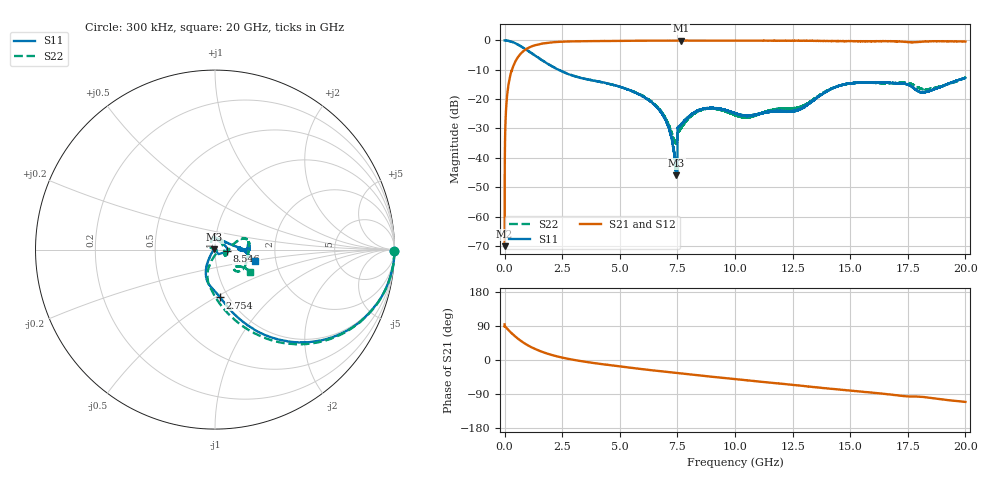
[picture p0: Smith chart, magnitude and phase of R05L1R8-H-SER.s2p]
!{R05L1R8}
!Johanson Technology Inc.
!www.johansontechnology.com
!Test Board Conditions:
!Substrate Type  RO4350B
!Substrate Thickness  10 mil
!Substrate Dk  3.66
!TL Type: GCPW
!TL Trace Width  22 mil
!TL Gap  25 mil
!Electrode orientation  Horizontal
!DUT TOPOLOGY	SERIES
!Mounting Pad LxW  11x14.5 mil
! Created Wed Nov 25 17:33:21 2020
! 2 Port Network Data from SP1.SP block
! freq  magS11  angS11  magS21  angS21  magS12  angS12  magS22  angS22
# khz S ma R 50
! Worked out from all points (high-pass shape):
!   20001 points, 300 kHz to 20 GHz, reference 50 ohm
!   highest |S21| = -0.03 dB at 7.646 GHz (marker M1); lowest = -70.1 dB at 300 kHz (marker M2)
!   |S21| within 3 dB of the highest: 921.9 MHz to end of sweep
!   lowest |S11| = -45.9 dB at 7.453 GHz (marker M3), VSWR 1.01, Z = 49.6 + j0.231 ohm
!   |S11| at or under -10 dB: 2.341 GHz to end of sweep
!   |S22| runs from -35.3 to 0.0 dB; largest |S21 - S12| = 0.016
!   S11 on the Smith chart (normalised r, x): 300 kHz: open; 2.754 GHz: 0.92, -0.53; 8.546 GHz: 1.14, -0.02; 20 GHz: 1.56, -0.20
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300  0.9995 -0.5  0.0003123 94.0  0.0003686 94.2  1 -0.4
101300  0.9938 -6.5  0.1074 83.4  0.1078 83.3  0.994 -6.5
124300  0.9904 -7.9  0.1314 81.9  0.1319 81.9  0.9911 -8.0
235300  0.9681 -14.8  0.2437 74.8  0.2444 74.8  0.9688 -15.0
427300  0.9103 -25.2  0.4064 64.1  0.4081 64.1  0.9093 -25.6
1445300  0.5141 -62.5  0.8528 26.1  0.8528 26.0  0.5161 -64.7
2754300  0.2681 -83.8  0.9611 3.2  0.9603 3.2  0.27 -88.8
3334300  0.2286 -90.9  0.9695 -3.1  0.9702 -3.1  0.2295 -94.5
5382300  0.1442 -110.5  0.9859 -19.7  0.986 -19.7  0.1452 -107.1
6667300  0.06872 -121.7  0.9924 -29.0  0.9924 -29.0  0.07064 -107.9
7126300  0.03262 -130.5  0.9928 -32.1  0.994 -32.1  0.03639 -94.8
7399300  0.009111 -162.2  0.994 -33.9  0.9935 -33.8  0.01901 -52.8
7453300  0.005071 152.7  0.9938 -34.2  0.9934 -34.2  0.01762 -33.2
7646300  0.03627 -38.1  0.9967 -35.6  0.9958 -35.5  0.0315 139.9
8546300  0.06736 -8.1  0.9935 -41.3  0.9934 -41.4  0.06522 100.9
1.00003e7  0.05764 27.2  0.994 -50.3  0.993 -50.3  0.05383 49.6
1.25723e7  0.0628 56.2  0.9915 -66.0  0.9903 -66.1  0.0704 -17.0
1.33343e7  0.09127 18.5  0.9871 -70.7  0.9876 -70.9  0.09477 12.2
1.46943e7  0.1772 -0.8  0.9761 -79.1  0.9771 -78.9  0.1768 20.4
1.66673e7  0.1888 8.4  0.9734 -90.7  0.9628 -90.4  0.1858 -13.3
1.81943e7  0.132 4.1  0.9556 -97.6  0.9536 -97.8  0.1457 -44.2
2e7  0.2311 -15.3  0.9588 -110.6  0.9531 -110.5  0.2304 -32.5
